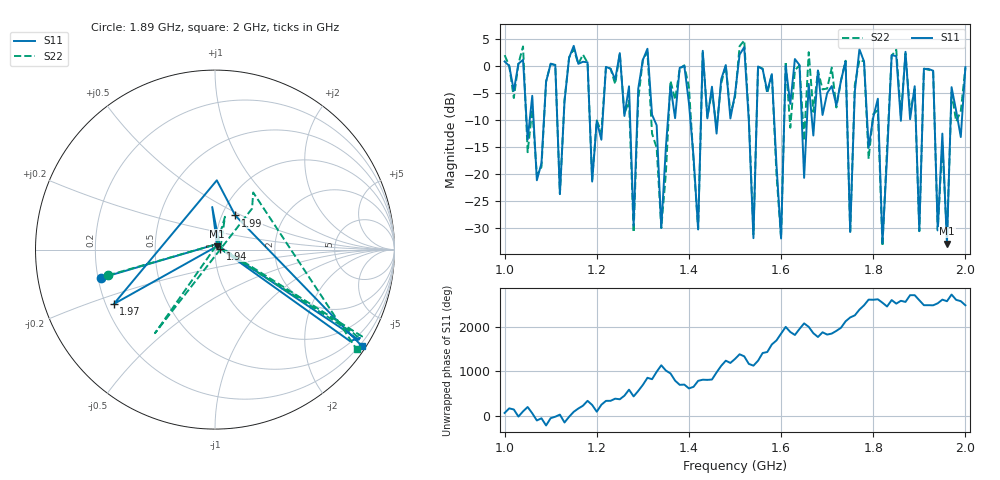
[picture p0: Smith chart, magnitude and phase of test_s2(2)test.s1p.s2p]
# MHz S MA R 50
!  freq  S11  S21  S12  S22
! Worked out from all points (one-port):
!   101 points, 1 GHz to 2 GHz, reference 50 ohm
!   lowest |S11| = -32.9 dB at 1.96 GHz (marker M1), VSWR 1.05, Z = 51.2 + j1.97 ohm
!   |S11| at or under -10 dB: 1.185 GHz to 1.213 GHz (27.81 MHz wide, 2.32 % of centre); 1.325 GHz to 1.354 GHz (29.17 MHz wide, 2.18 % of centre); 1.933 GHz to 1.968 GHz (34.78 MHz wide, 1.78 % of centre) (the widest 3 of 19)
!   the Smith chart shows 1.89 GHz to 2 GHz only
!   S11 on the Smith chart (normalised r, x): 1.89 GHz: 0.21, -0.12; 1.94 GHz: 1.06, +0.01; 1.97 GHz: 0.23, -0.24; 1.99 GHz: 1.15, +0.46; 2 GHz: 0.11, -3.34
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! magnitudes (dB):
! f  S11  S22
! 1 GHz  0.9  2.1
! 1.12 GHz  -23.7  -23.6
! 1.17 GHz  0.8  2.2
! 1.28 GHz  -29.5  -30.8
! 1.31 GHz  3.2  2.6
! 1.34 GHz  -29.9  -30.0
! 1.5 GHz  -5.2  -5.8
! 1.54 GHz  -31.8  -31.1
! 1.55 GHz  0.0  -0.1
! 1.6 GHz  -31.9  -31.8
! 1.67 GHz  -12.8  -8.4
! 1.74 GHz  1.0  1.0
! 1.75 GHz  -30.7  -30.9
! 1.77 GHz  3.1  1.2
! 1.82 GHz  -32.8  -33.3
! 1.84 GHz  2.1  2.0
! 1.89 GHz  -3.7  -4.2
! 1.94 GHz  -30.4  -30.4
! 1.96 GHz  -32.9  -31.8
! 1.97 GHz  -3.9  -4.8
! 1.99 GHz  -13.1  -8.3
! 2 GHz  -0.2  -0.3
